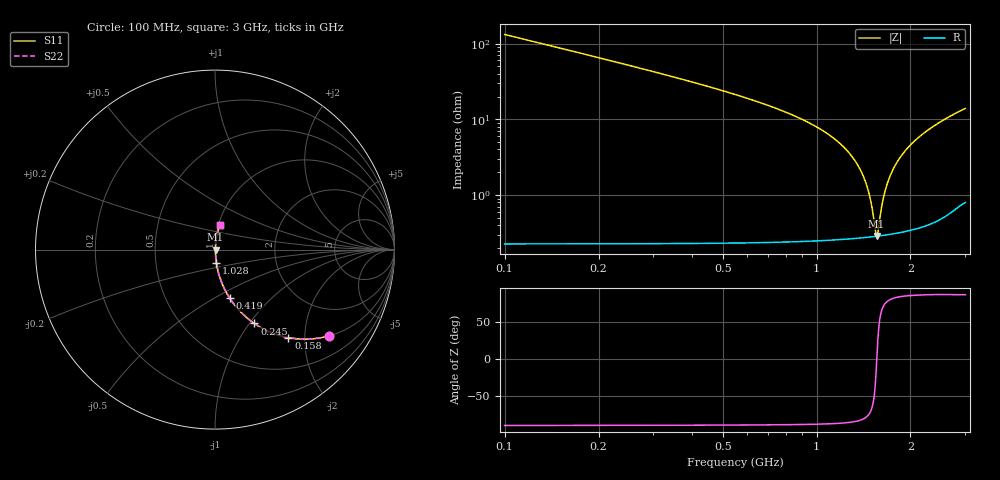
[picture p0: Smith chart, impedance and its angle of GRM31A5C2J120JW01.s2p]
!Murata Part Number: GRM31A5C2J120JW01
!These Parameters are Measured in Series Mode Connection
!Data Generated on Mar 30, 2021
!  o--ll--o
!Port1  Port2
!  o------o
!Operation Temp=25[degC], DC Bias Voltage=0[V]
!Freq. Start=100[MHz] Stop=3[GHz] 401[Steps]
# Hz S RI R 50
!Freq.(Hz) S11(Real) S11(Imag) S21(Real) S21(Imag) S12(Real) S12(Imag) S22(Real) S22(Imag)
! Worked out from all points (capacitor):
!   401 points, 100 MHz to 3 GHz, reference 50 ohm
!   read as one part in series: C = 12 pF near 114.5 MHz
!   lowest |Z| = 287 mohm at 1.557 GHz (marker M1)
!   series resonance near 1.56 GHz, so ESL is about 870 pH
!   S11 on the Smith chart (normalised r, x): 100 MHz: 1.00, -2.64; 158 MHz: 1.00, -1.66; 245 MHz: 1.00, -1.06; 419 MHz: 1.00, -0.59; 1.028 GHz: 1.00, -0.15; 3 GHz: 1.02, +0.28
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1e8  0.6355 -0.4804  0.3645 0.4804  0.3645 0.4804  0.6355 -0.4804
1.58e8  0.4088 -0.4903  0.5912 0.4903  0.5912 0.4903  0.4088 -0.4903
2.45e8  0.2193 -0.4116  0.7807 0.4116  0.7807 0.4116  0.2193 -0.4116
4.19e8  0.0816 -0.2699  0.9184 0.2699  0.9184 0.2699  0.0816 -0.2699
5.8575e8  0.0389 -0.1875  0.9611 0.1875  0.9611 0.1875  0.0389 -0.1875
1.028e9  0.00793 -0.0735  0.9921 0.0735  0.9921 0.0735  0.00793 -0.0735
1.0715e9  0.00689 -0.066  0.9931 0.066  0.9931 0.066  0.00689 -0.066
1.26725e9  0.00394 -0.0363  0.9961 0.0363  0.9961 0.0363  0.00394 -0.0363
1.39775e9  0.00308 -0.0192  0.9969 0.0192  0.9969 0.0192  0.00308 -0.0192
1.4775e9  0.00287 -0.00952  0.9971 0.00952  0.9971 0.00952  0.00287 -0.00952
1.5065e9  0.00284 -0.00612  0.9972 0.00612  0.9972 0.00612  0.00284 -0.00612
1.55e9  0.00284 -0.00112  0.9972 0.00112  0.9972 0.00112  0.00284 -0.00112
1.55725e9  0.00285 -0.000296  0.9972 0.000296  0.9972 0.000296  0.00285 -0.000296
1.57175e9  0.00286 0.00134  0.9971 -0.00134  0.9971 -0.00134  0.00286 0.00134
1.61525e9  0.00294 0.00616  0.9971 -0.00616  0.9971 -0.00616  0.00294 0.00616
1.64425e9  0.00302 0.00932  0.997 -0.00932  0.997 -0.00932  0.00302 0.00932
1.724e9  0.00334 0.0178  0.9967 -0.0178  0.9967 -0.0178  0.00334 0.0178
1.8545e9  0.00416 0.0311  0.9958 -0.0311  0.9958 -0.0311  0.00416 0.0311
2.03575e9  0.00586 0.0488  0.9941 -0.0488  0.9941 -0.0488  0.00586 0.0488
2.246e9  0.00863 0.0684  0.9914 -0.0684  0.9914 -0.0684  0.00863 0.0684
2.5215e9  0.0137 0.0933  0.9863 -0.0933  0.9863 -0.0933  0.0137 0.0933
3e9  0.0265 0.1344  0.9735 -0.1344  0.9735 -0.1344  0.0265 0.1344
